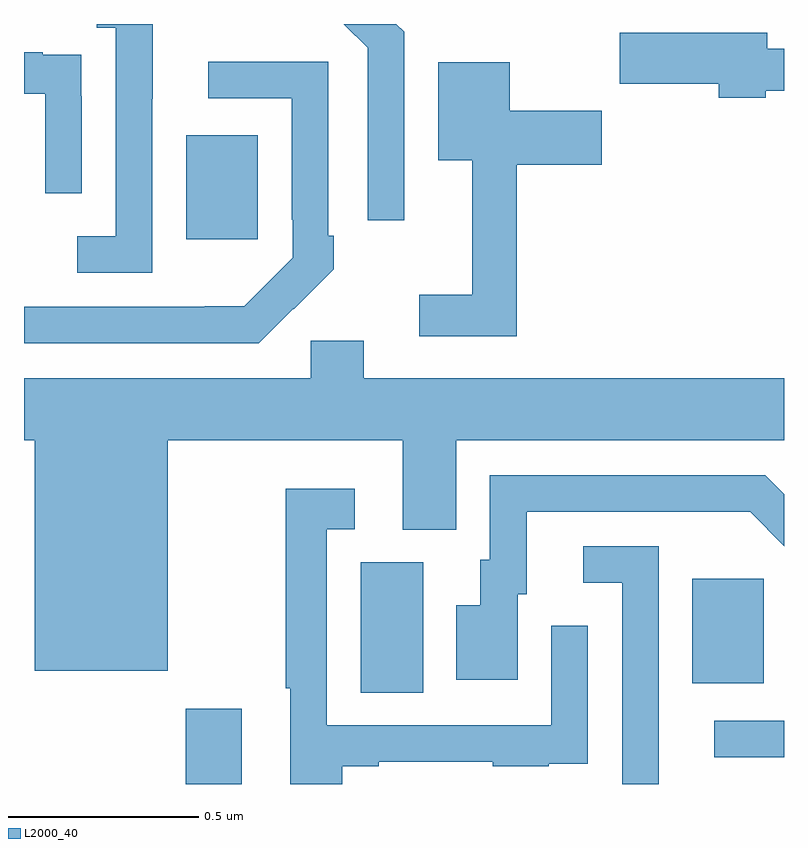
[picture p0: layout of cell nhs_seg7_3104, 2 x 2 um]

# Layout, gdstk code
import gdstk
lib = gdstk.Library(unit=1e-6, precision=1e-09)
def R(c, l, rs):  # rectangles x0, y0, x1, y1
    for r in rs: c.add(gdstk.rectangle(r[:2], r[2:], *l))
def P(c, l, *ps):  # polygons
    for p in ps: c.add(gdstk.Polygon(p, *l))
L2000_40 = (2000, 40)

nhs_seg7_3104 = lib.new_cell('nhs_seg7_3104')
R(nhs_seg7_3104, L2000_40, [(154.426,1045,154.573,1045.198), (155.817,1045.071,156,1045.167), (154.886,1045.24,155.05,1045.584), (155.759,1045.265,155.947,1045.54), (154.427,1046.433,154.615,1046.707)])
P(nhs_seg7_3104, L2000_40, [(155.001,1046.979),(154.98,1047),(154.842,1047),(154.905,1046.937),(154.905,1046.484),(155.001,1046.484)],
  [(154.338,1046.803),(154.339,1046.803),(154.339,1047),(154.191,1047),(154.191,1046.99),(154.242,1046.99),(154.242,1046.442),(154.14,1046.442),(154.14,1046.346),(154.338,1046.346)],
  [(155.952,1046.825),(156,1046.825),(156,1046.935),(155.956,1046.935),(155.956,1046.977),(155.568,1046.977),(155.568,1046.843),(155.828,1046.843),(155.828,1046.806),(155.952,1046.806)],
  [(154.152,1046.81),(154.151,1046.81),(154.151,1046.919),(154.049,1046.919),(154.049,1046.926),(154,1046.926),(154,1046.817),(154.056,1046.817),(154.056,1046.555),(154.152,1046.555)],
  [(154.709,1046.251),(154.71,1046.25),(154.815,1046.355),(154.815,1046.443),(154.8,1046.443),(154.8,1046.901),(154.485,1046.901),(154.485,1046.805),(154.704,1046.805),(154.704,1046.485),(154.707,1046.485),(154.707,1046.385),(154.579,1046.257),(154.475,1046.257),(154.475,1046.256),(154,1046.256),(154,1046.16),(154.618,1046.16)],
  [(155.297,1046.63),(155.521,1046.63),(155.521,1046.772),(155.278,1046.772),(155.278,1046.899),(155.09,1046.899),(155.09,1046.642),(155.18,1046.642),(155.18,1046.287),(155.04,1046.287),(155.04,1046.178),(155.297,1046.178)],
  [(154.378,1045.904),(154.997,1045.904),(154.997,1045.669),(155.137,1045.669),(155.137,1045.904),(156,1045.904),(156,1046.068),(154.894,1046.068),(154.894,1046.166),(154.755,1046.166),(154.755,1046.068),(154,1046.068),(154,1045.904),(154.028,1045.904),(154.028,1045.298),(154.378,1045.298)],
  [(155.299,1045.5),(155.323,1045.5),(155.323,1045.716),(155.911,1045.716),(156,1045.626),(156,1045.762),(155.95,1045.812),(155.226,1045.812),(155.226,1045.59),(155.201,1045.59),(155.201,1045.471),(155.138,1045.471),(155.138,1045.275),(155.299,1045.275)],
  [(154.837,1045.047),(154.933,1045.047),(154.933,1045.059),(155.233,1045.059),(155.233,1045.047),(155.381,1045.047),(155.381,1045.053),(155.483,1045.053),(155.483,1045.162),(155.484,1045.162),(155.484,1045.417),(155.388,1045.417),(155.388,1045.155),(154.797,1045.155),(154.797,1045.671),(154.87,1045.671),(154.87,1045.777),(154.689,1045.777),(154.689,1045.252),(154.701,1045.252),(154.701,1045),(154.837,1045)],
  [(155.671,1045.169),(155.67,1045.169),(155.67,1045.626),(155.472,1045.626),(155.472,1045.53),(155.574,1045.53),(155.574,1045),(155.671,1045)])

lib.write_gds('nhs_seg7_3104.gds')
